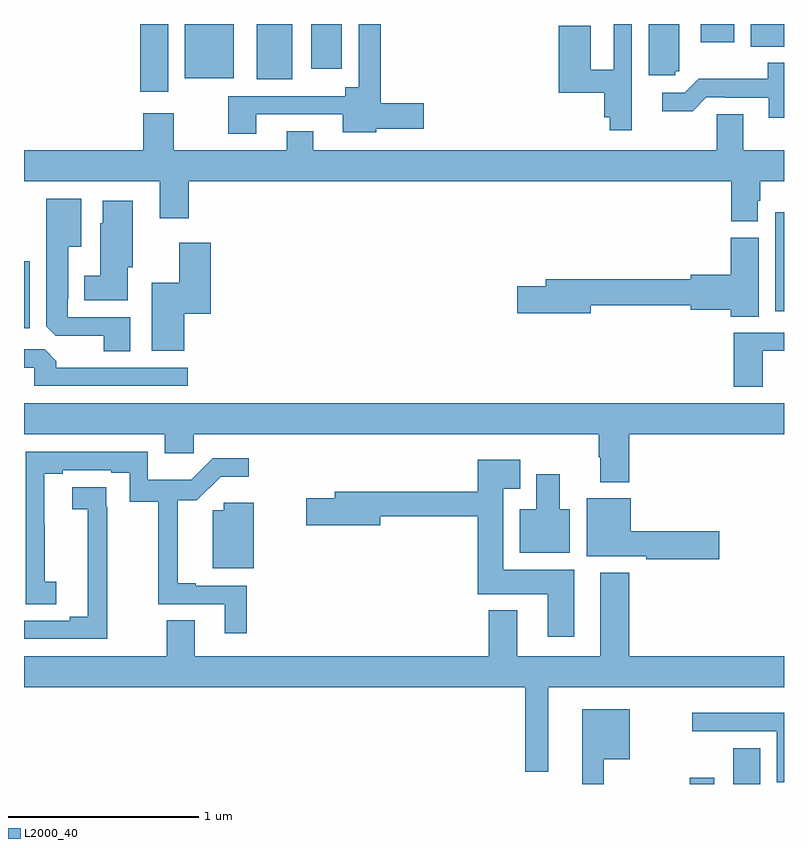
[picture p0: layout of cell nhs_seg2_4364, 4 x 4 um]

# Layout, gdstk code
import gdstk
lib = gdstk.Library(unit=1e-6, precision=1e-09)
def R(c, l, rs):  # rectangles x0, y0, x1, y1
    for r in rs: c.add(gdstk.rectangle(r[:2], r[2:], *l))
def P(c, l, *ps):  # polygons
    for p in ps: c.add(gdstk.Polygon(p, *l))
L2000_40 = (2000, 40)

nhs_seg2_4364 = lib.new_cell('nhs_seg2_4364')
R(nhs_seg2_4364, L2000_40, [(350.503,641.8,350.632,641.833), (350.732,641.8,350.875,641.989), (347,644.198,347.029,644.551), (350.954,644.288,351,644.809), (347.612,645.444,347.758,645.8), (348.224,645.509,348.412,645.8), (347.846,645.515,348.103,645.8), (348.512,645.564,348.673,645.8), (350.824,645.68,351,645.8), (350.562,645.704,350.739,645.8)])
P(nhs_seg2_4364, L2000_40, [(348.223,645.324),(348.677,645.324),(348.677,645.23),(348.855,645.23),(348.855,645.248),(349.105,645.248),(349.105,645.383),(348.878,645.383),(348.878,645.8),(348.762,645.8),(348.762,645.466),(348.692,645.466),(348.692,645.42),(348.076,645.42),(348.076,645.222),(348.223,645.222)],
  [(350.427,645.552),(350.449,645.552),(350.449,645.8),(350.288,645.8),(350.288,645.531),(350.427,645.531)],
  [(350.199,645.8),(350.103,645.8),(350.103,645.56),(349.984,645.56),(349.984,645.79),(349.814,645.79),(349.814,645.437),(350.054,645.437),(350.054,645.308),(350.083,645.308),(350.083,645.24),(350.199,645.24)],
  [(351,645.595),(350.914,645.595),(350.914,645.511),(350.551,645.511),(350.478,645.438),(350.358,645.438),(350.358,645.341),(350.519,645.341),(350.592,645.414),(350.692,645.414),(350.692,645.411),(350.921,645.411),(350.921,645.306),(351,645.306)],
  [(347.787,645.331),(347.627,645.331),(347.627,645.136),(347,645.136),(347,644.972),(347.714,644.972),(347.714,644.778),(347.867,644.778),(347.867,644.972),(350.723,644.972),(350.723,644.761),(350.863,644.761),(350.863,644.871),(350.876,644.871),(350.876,644.972),(351,644.972),(351,645.136),(350.785,645.136),(350.785,645.326),(350.646,645.326),(350.646,645.136),(348.523,645.136),(348.523,645.235),(348.383,645.235),(348.383,645.136),(347.787,645.136)],
  [(347.56,644.256),(347.229,644.256),(347.229,644.353),(347.233,644.353),(347.233,644.627),(347.302,644.627),(347.302,644.881),(347.117,644.881),(347.117,644.209),(347.166,644.16),(347.42,644.16),(347.42,644.077),(347.56,644.077)],
  [(347.545,644.52),(347.572,644.52),(347.572,644.869),(347.414,644.869),(347.414,644.751),(347.402,644.751),(347.402,644.476),(347.318,644.476),(347.318,644.345),(347.545,644.345)],
  [(350.866,644.676),(350.72,644.676),(350.72,644.48),(350.51,644.48),(350.51,644.456),(349.745,644.456),(349.745,644.42),(349.596,644.42),(349.596,644.278),(349.984,644.278),(349.984,644.32),(350.51,644.32),(350.51,644.297),(350.72,644.297),(350.72,644.26),(350.866,644.26)],
  [(347.843,644.276),(347.984,644.276),(347.984,644.65),(347.816,644.65),(347.816,644.439),(347.672,644.439),(347.672,644.079),(347.843,644.079)],
  [(350.887,644.079),(351,644.079),(351,644.175),(350.735,644.175),(350.735,643.89),(350.887,643.89)],
  [(347.863,643.992),(347.171,643.992),(347.171,644.026),(347.109,644.088),(347,644.088),(347,643.992),(347.055,643.992),(347.055,643.896),(347.863,643.896)],
  [(350.186,643.64),(351,643.64),(351,643.804),(347,643.804),(347,643.64),(347.741,643.64),(347.741,643.542),(347.893,643.542),(347.893,643.64),(350.026,643.64),(350.026,643.52),(350.033,643.52),(350.033,643.388),(350.186,643.388)],
  [(348.173,642.843),(347.905,642.843),(347.905,642.856),(347.81,642.856),(347.81,643.293),(347.909,643.293),(348.035,643.418),(348.184,643.418),(348.184,643.515),(347.994,643.515),(347.881,643.402),(347.652,643.402),(347.652,643.548),(347.01,643.548),(347.01,642.745),(347.17,642.745),(347.17,642.865),(347.109,642.865),(347.109,643.169),(347.107,643.169),(347.107,643.432),(347.203,643.432),(347.203,643.452),(347.459,643.452),(347.459,643.438),(347.556,643.438),(347.556,643.285),(347.707,643.285),(347.707,642.747),(348.056,642.747),(348.056,642.594),(348.173,642.594)],
  [(349.897,642.928),(349.522,642.928),(349.522,643.355),(349.612,643.355),(349.612,643.507),(349.388,643.507),(349.388,643.339),(348.635,643.339),(348.635,643.305),(348.486,643.305),(348.486,643.163),(348.874,643.163),(348.874,643.21),(349.388,643.21),(349.388,642.8),(349.757,642.8),(349.757,642.576),(349.897,642.576)],
  [(349.873,643.246),(349.819,643.246),(349.819,643.429),(349.697,643.429),(349.697,643.246),(349.61,643.246),(349.61,643.016),(349.873,643.016)],
  [(347.438,643.259),(347.432,643.259),(347.432,643.361),(347.253,643.361),(347.253,643.246),(347.335,643.246),(347.335,642.963),(347.336,642.963),(347.336,642.68),(347.24,642.68),(347.24,642.66),(347,642.66),(347,642.564),(347.438,642.564)],
  [(350.659,643.13),(350.194,643.13),(350.194,643.303),(349.961,643.303),(349.961,642.998),(350.274,642.998),(350.274,642.983),(350.659,642.983)],
  [(348.208,643.281),(348.051,643.281),(348.051,643.24),(347.993,643.24),(347.993,642.935),(348.208,642.935)],
  [(351,642.472),(350.186,642.472),(350.186,642.913),(350.033,642.913),(350.033,642.472),(349.597,642.472),(349.597,642.715),(349.445,642.715),(349.445,642.472),(347.899,642.472),(347.899,642.662),(347.752,642.662),(347.752,642.472),(347,642.472),(347,642.308),(349.638,642.308),(349.638,641.864),(349.759,641.864),(349.759,642.308),(351,642.308)],
  [(350.051,641.93),(350.188,641.93),(350.188,642.193),(349.937,642.193),(349.937,641.8),(350.051,641.8)],
  [(351,642.175),(350.517,642.175),(350.517,642.078),(350.963,642.078),(350.963,641.81),(351,641.81)])

lib.write_gds('nhs_seg2_4364.gds')
